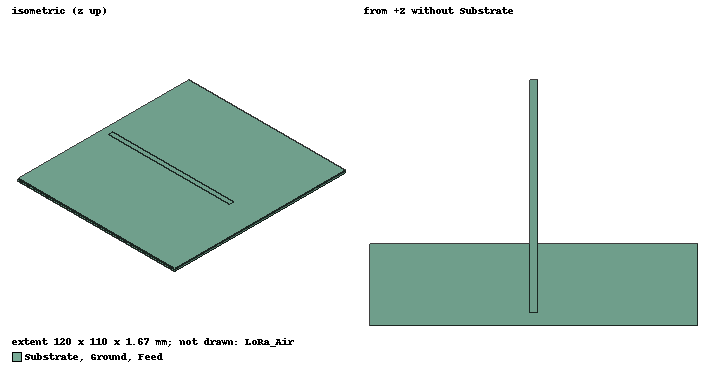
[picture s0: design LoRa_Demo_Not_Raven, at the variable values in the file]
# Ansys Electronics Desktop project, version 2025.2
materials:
  vacuum: permittivity=1
  LoRa_Demo_FR4: permittivity=4.3 dielectric_loss_tangent=0.018
  copper: permeability=0.999991 conductivity=58000000
  air: permittivity=1.0006 permeability=1.0000004

design LoRa_Demo_Not_Raven (HFSS, HFSS Hybrid Modal Network, model units mm)
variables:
  ant_len = 60mm  # optimise 45mm..75mm
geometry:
  Substrate [LoRa_Demo_FR4] = box(corner=(0mm, 0mm, 0mm), size=(120mm, 110mm, 1.6mm))
  Ground [copper] = box(corner=(0mm, 0mm, -0.035mm), size=(120mm, 30mm, 0.035mm))
  Feed [copper] = box(corner=(58.5mm, 5mm, 1.6mm), size=(3mm, 25mm, 0.035mm))
  Antenna = box(corner=(58.5mm, 30mm, 1.6mm), size=(3mm, ant_len, 0.035mm))
  Feed.unite(Antenna)
  PortSheet = polyline(y=5mm, xz in mm: (58.5, 0) (61.5, 0) (61.5, 1.6) (58.5, 1.6) (58.5, 0), closed, covered)
  LoRa_Air [air] = box(corner=(-97.910508mm, -97.910508mm, -97.945508mm), size=(315.82102mm, 305.82102mm, 197.49102mm))
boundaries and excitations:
  LoRa_Radiation: Radiation Objects=LoRa_Air
  LoRa_Port: Lumped Port Objects=PortSheet LumpedPortType=Modal Modes{Mode1{IntLine{(60, 5, 0) -> (60, 5, 1.6)} CharImp=Zpi RenormImp=50ohm}} Impedance=50ohm
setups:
  LoRa_Setup915: HfssDriven Frequency=915MHz MaxDeltaS=0.01 MaximumPasses=20 MinimumPasses=3 MinimumConvergedPasses=2 PercentRefinement=25 BasisOrder=1 PortAccuracy=2 DrivenSolverType="Direct Solver"
    sweep LoRa_Sweep800_1000: 800MHz to 1000MHz step 1MHz; Type=Interpolating InterpTolerance=0.2 InterpMaxSolns=250 InterpUsePortImped=false PassivityErrorTolerance=0.0001
    sweep LoRa_Fields868: 868MHz to 868MHz, 1 points; Type=Discrete SaveFields SaveRadFields
    sweep LoRa_Fields915: 915MHz to 915MHz, 1 points; Type=Discrete SaveFields SaveRadFields
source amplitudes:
  LoRa_Port:1: 1W 0deg
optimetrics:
  LoRa_MatchOptimization: Optimization Optimizer="Quasi Newton" AnalysisStopOptions{StopForNumIteration MaxNumIteration=50 MinNumIteration=10} CostFuncNormType=L2 PreSolvePSetup=false Acceptable_Cost=0 Noise=0.0001 UpdateDesignWhenDone
    vary ant_len: Min=45mm Max=75mm MinStep=0.1mm MaxStep=2mm MinFocus=45mm MaxFocus=75mm start=60mm
    goal dB(S(LoRa_Port,LoRa_Port)) <= -10 weight 1 on LoRa_Setup915 : LoRa_Sweep800_1000 at Freq 902MHz to 928MHz
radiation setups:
  LoRa_InfiniteSphere: Infinite Sphere Theta=0deg..180deg step 2deg Phi=-180deg..180deg step 2deg
